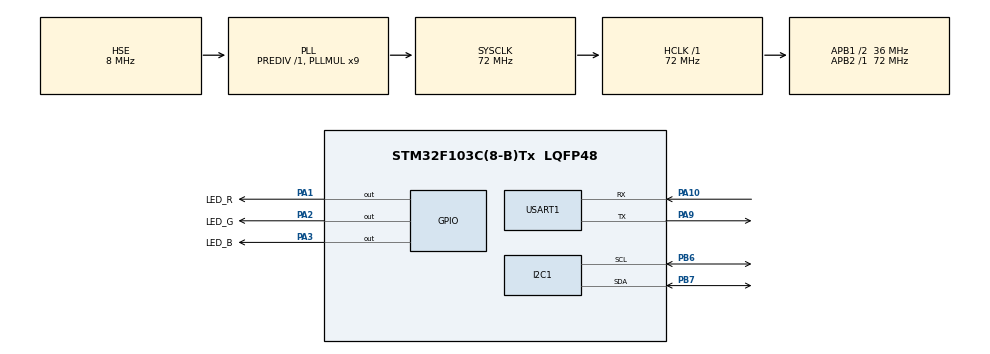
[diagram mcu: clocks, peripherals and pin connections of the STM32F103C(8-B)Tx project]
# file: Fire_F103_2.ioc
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FREERTOS.Tasks01=defaultTask,0,128,StartDefaultTask,Default,NULL,Dynamic,NULL,NULL;ledTask,0,256,StartLEDTask,Default,NULL,Dynamic,NULL,NULL;uartTask,-2,128,StartUartTask,Default,NULL,Dynamic,NULL,NULL;sensorTask,1,128,StartSensorTask,Default,NULL,Dynamic,NULL,NULL
Mcu.Family=STM32F1
Mcu.Name=STM32F103C(8-B)Tx
Mcu.Package=LQFP48
NVIC.PriorityGroup=NVIC_PRIORITYGROUP_4
PA1.GPIO_Label=LED_R
PA1.PinState=GPIO_PIN_SET
PA1.Signal=GPIO_Output
PA10.Mode=Asynchronous
PA10.Signal=USART1_RX
PA13.Mode=Serial_Wire
PA13.Signal=SYS_JTMS-SWDIO
PA14.Mode=Serial_Wire
PA14.Signal=SYS_JTCK-SWCLK
PA2.GPIO_Label=LED_G
PA2.PinState=GPIO_PIN_SET
PA2.Signal=GPIO_Output
PA3.GPIO_Label=LED_B
PA3.PinState=GPIO_PIN_SET
PA3.Signal=GPIO_Output
PA9.Mode=Asynchronous
PA9.Signal=USART1_TX
PB6.Mode=I2C
PB6.Signal=I2C1_SCL
PB7.Mode=I2C
PB7.Signal=I2C1_SDA
PC14-OSC32_IN.Mode=LSE-External-Oscillator
PC14-OSC32_IN.Signal=RCC_OSC32_IN
PC15-OSC32_OUT.Mode=LSE-External-Oscillator
PC15-OSC32_OUT.Signal=RCC_OSC32_OUT
PD0-OSC_IN.Mode=HSE-External-Oscillator
PD0-OSC_IN.Signal=RCC_OSC_IN
PD1-OSC_OUT.Mode=HSE-External-Oscillator
PD1-OSC_OUT.Signal=RCC_OSC_OUT
ProjectManager.HeapSize=0x200
ProjectManager.StackSize=0x400
ProjectManager.TargetToolchain=MDK-ARM V5.32
RCC.AHBFreq_Value=72000000
RCC.APB1CLKDivider=RCC_HCLK_DIV2
RCC.APB1Freq_Value=36000000
RCC.APB1TimFreq_Value=72000000
RCC.APB2Freq_Value=72000000
RCC.APB2TimFreq_Value=72000000
RCC.HCLKFreq_Value=72000000
RCC.PLLMUL=RCC_PLL_MUL9
RCC.PLLSourceVirtual=RCC_PLLSOURCE_HSE
RCC.SYSCLKFreq_VALUE=72000000
RCC.SYSCLKSource=RCC_SYSCLKSOURCE_PLLCLK
RCC.USBFreq_Value=72000000
USART1.VirtualMode=VM_ASYNC
VP_FREERTOS_VS_CMSIS_V1.Mode=CMSIS_V1
board=custom

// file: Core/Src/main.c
/* USER CODE BEGIN Header */
/**
  ******************************************************************************
  * @file           : main.c
  * @brief          : Main program body
  ******************************************************************************
  * @attention
  *
  * Copyright (c) 2026 STMicroelectronics.
  * All rights reserved.
  *
  * This software is licensed under terms that can be found in the LICENSE file
  * in the root directory of this software component.
  * If no LICENSE file comes with this software, it is provided AS-IS.
  *
  ******************************************************************************
  */
/* USER CODE END Header */
#include "main.h"
#include "cmsis_os.h"
#include "i2c.h"
#include "usart.h"
#include "gpio.h"

/* USER CODE BEGIN Includes */
#include <string.h>
#include <stdio.h>
#include "bsp_i2c_oled.h"
#include "bsp_fonts.h"
#include "bsp_dwt.h"
#include "bsp_dht11.h"

/* USER CODE END Includes */

/* USER CODE BEGIN PV */
volatile uint8_t g_oled_ready = 0U;

/* USER CODE END PV */

void SystemClock_Config(void);
void MX_FREERTOS_Init(void);
/* USER CODE BEGIN PFP */
static void Debug_SendText(const char *text);
static void Board_Blink(uint8_t times, uint32_t delay_ms);
static void Error_BlinkLoop(void);

/* USER CODE END PFP */

/* USER CODE BEGIN 0 */
static void Debug_SendText(const char *text)
{
  if (text == NULL)
  {
    return;
  }

  HAL_UART_Transmit(&huart1, (uint8_t *)text, (uint16_t)strlen(text), 100);
}

static void Board_Blink(uint8_t times, uint32_t delay_ms)
{
  for (uint8_t i = 0; i < times; i++)
  {
    HAL_GPIO_TogglePin(GPIOA, LED_R_Pin | LED_G_Pin | LED_B_Pin);
    HAL_GPIO_TogglePin(GPIOC, GPIO_PIN_13);
    HAL_Delay(delay_ms);
    HAL_GPIO_TogglePin(GPIOA, LED_R_Pin | LED_G_Pin | LED_B_Pin);
    HAL_GPIO_TogglePin(GPIOC, GPIO_PIN_13);
    HAL_Delay(delay_ms);
  }
}

static void Error_BlinkLoop(void)
{
  GPIO_InitTypeDef GPIO_InitStruct = {0};

  __HAL_RCC_GPIOA_CLK_ENABLE();
  __HAL_RCC_GPIOC_CLK_ENABLE();

  GPIO_InitStruct.Pin = LED_R_Pin | LED_G_Pin | LED_B_Pin;
  GPIO_InitStruct.Mode = GPIO_MODE_OUTPUT_PP;
  GPIO_InitStruct.Pull = GPIO_NOPULL;
  GPIO_InitStruct.Speed = GPIO_SPEED_FREQ_LOW;
  HAL_GPIO_Init(GPIOA, &GPIO_InitStruct);

  GPIO_InitStruct.Pin = GPIO_PIN_13;
  HAL_GPIO_Init(GPIOC, &GPIO_InitStruct);

  while (1)
  {
    HAL_GPIO_TogglePin(GPIOA, LED_R_Pin | LED_G_Pin | LED_B_Pin);
    HAL_GPIO_TogglePin(GPIOC, GPIO_PIN_13);
    for (volatile uint32_t delay = 0; delay < 250000U; delay++)
    {
      __NOP();
    }
  }
}

/* USER CODE END 0 */

int main(void)
{

  /* MCU Configuration--------------------------------------------------------*/

  /* Reset of all peripherals, Initializes the Flash interface and the Systick. */
  HAL_Init();

  MX_GPIO_Init();
  Board_Blink(2, 80);

  /* Configure the system clock */
  SystemClock_Config();

  /* Initialize all configured peripherals */
  MX_USART1_UART_Init();
  MX_I2C1_Init();
	DWT_Init();
	DHT11_GPIO_Config();
  /* USER CODE BEGIN 2 */
  Debug_SendText("BOOT\r\n");
  if (OLED_Init() == SUCCESS)
  {
    g_oled_ready = 1U;
    OLED_ShowString_F8X16(0,0, (uint8_t*)"STM32");
    OLED_ShowString_F8X16(1,0, (uint8_t*)"FreeRTOS");
    OLED_ShowString_F8X16(2,0, (uint8_t*)"LED OK");
    Debug_SendText("OLED READY\r\n");
  }
  else
  {
   Debug_SendText("OLED FAIL\r\n");
  }
  /* USER CODE END 2 */

  /* Call init function for freertos objects (in cmsis_os2.c) */
  Debug_SendText("RTOS INIT\r\n");
  MX_FREERTOS_Init();
  Debug_SendText("RTOS READY\r\n");

  /* Start scheduler */
  Debug_SendText("KERNEL START\r\n");
  osKernelStart();
  Debug_SendText("KERNEL RETURN\r\n");

  /* We should never get here as control is now taken by the scheduler */

  /* Infinite loop */
  while (1)
  {

    /* USER CODE BEGIN 3 */
    HAL_GPIO_TogglePin(GPIOA, LED_R_Pin);
    if (g_oled_ready == 0U)
    {
      g_oled_ready = (OLED_Init() == SUCCESS) ? 1U : 0U;
    }

    if (g_oled_ready != 0U)
    {
      OLED_CLS();
      OLED_ShowString_F8X16(0,0, (uint8_t*)"STM32");
      OLED_ShowString_F8X16(1,0, (uint8_t*)"FreeRTOS");
      OLED_ShowString_F8X16(2,0, (uint8_t*)"LED OK");
    }

    Debug_SendText("FALLBACK LOOP\r\n");
    HAL_Delay(1000);
  }
  /* USER CODE END 3 */
}

void SystemClock_Config(void)
{
  RCC_OscInitTypeDef RCC_OscInitStruct = {0};
  RCC_ClkInitTypeDef RCC_ClkInitStruct = {0};

  /** Initializes the RCC Oscillators according to the specified parameters
  * in the RCC_OscInitTypeDef structure.
  */
  RCC_OscInitStruct.OscillatorType = RCC_OSCILLATORTYPE_HSE;
  RCC_OscInitStruct.HSEState = RCC_HSE_ON;
  RCC_OscInitStruct.HSEPredivValue = RCC_HSE_PREDIV_DIV1;
  RCC_OscInitStruct.HSIState = RCC_HSI_ON;
  RCC_OscInitStruct.PLL.PLLState = RCC_PLL_ON;
  RCC_OscInitStruct.PLL.PLLSource = RCC_PLLSOURCE_HSE;
  RCC_OscInitStruct.PLL.PLLMUL = RCC_PLL_MUL9;
  if (HAL_RCC_OscConfig(&RCC_OscInitStruct) == HAL_OK)
  {
    /** Initializes the CPU, AHB and APB buses clocks
    */
    RCC_ClkInitStruct.ClockType = RCC_CLOCKTYPE_HCLK|RCC_CLOCKTYPE_SYSCLK
                                |RCC_CLOCKTYPE_PCLK1|RCC_CLOCKTYPE_PCLK2;
    RCC_ClkInitStruct.SYSCLKSource = RCC_SYSCLKSOURCE_PLLCLK;
    RCC_ClkInitStruct.AHBCLKDivider = RCC_SYSCLK_DIV1;
    RCC_ClkInitStruct.APB1CLKDivider = RCC_HCLK_DIV2;
    RCC_ClkInitStruct.APB2CLKDivider = RCC_HCLK_DIV1;

    if (HAL_RCC_ClockConfig(&RCC_ClkInitStruct, FLASH_LATENCY_2) == HAL_OK)
    {
      return;
    }
  }

  HAL_RCC_DeInit();

  RCC_OscInitStruct.OscillatorType = RCC_OSCILLATORTYPE_HSI;
  RCC_OscInitStruct.HSEState = RCC_HSE_OFF;
  RCC_OscInitStruct.HSEPredivValue = RCC_HSE_PREDIV_DIV1;
  RCC_OscInitStruct.HSIState = RCC_HSI_ON;
  RCC_OscInitStruct.HSICalibrationValue = RCC_HSICALIBRATION_DEFAULT;
  RCC_OscInitStruct.PLL.PLLState = RCC_PLL_ON;
  RCC_OscInitStruct.PLL.PLLSource = RCC_PLLSOURCE_HSI_DIV2;
  RCC_OscInitStruct.PLL.PLLMUL = RCC_PLL_MUL16;
  if (HAL_RCC_OscConfig(&RCC_OscInitStruct) != HAL_OK)
  {
    Error_Handler();
  }

  RCC_ClkInitStruct.ClockType = RCC_CLOCKTYPE_HCLK|RCC_CLOCKTYPE_SYSCLK
                              |RCC_CLOCKTYPE_PCLK1|RCC_CLOCKTYPE_PCLK2;
  RCC_ClkInitStruct.SYSCLKSource = RCC_SYSCLKSOURCE_PLLCLK;
  RCC_ClkInitStruct.AHBCLKDivider = RCC_SYSCLK_DIV1;
  RCC_ClkInitStruct.APB1CLKDivider = RCC_HCLK_DIV2;
  RCC_ClkInitStruct.APB2CLKDivider = RCC_HCLK_DIV1;
  if (HAL_RCC_ClockConfig(&RCC_ClkInitStruct, FLASH_LATENCY_2) != HAL_OK)
  {
    Error_Handler();
  }
}

/* USER CODE BEGIN 4 */
int fputc(int ch,FILE*f)
{
	(void)f;
	HAL_UART_Transmit(&huart1,(uint8_t *)&ch, 1 , HAL_MAX_DELAY);
	return ch;

}

/* USER CODE END 4 */

void Error_Handler(void)
{
  /* USER CODE BEGIN Error_Handler_Debug */
  /* User can add his own implementation to report the HAL error return state */
  if (huart1.Instance == USART1)
  {
    Debug_SendText("ERROR HANDLER\r\n");
  }
  __disable_irq();
  Error_BlinkLoop();
  /* USER CODE END Error_Handler_Debug */
}

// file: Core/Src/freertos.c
/* USER CODE BEGIN Header */
/**
  ******************************************************************************
  * File Name          : freertos.c
  * Description        : Code for freertos applications
  ******************************************************************************
  * @attention
  *
  * Copyright (c) 2026 STMicroelectronics.
  * All rights reserved.
  *
  * This software is licensed under terms that can be found in the LICENSE file
  * in the root directory of this software component.
  * If no LICENSE file comes with this software, it is provided AS-IS.
  *
  ******************************************************************************
  */
/* USER CODE END Header */

#include "FreeRTOS.h"
#include "task.h"
#include "main.h"
#include "cmsis_os.h"

/* USER CODE BEGIN Includes */
#include "gpio.h"
#include "usart.h"
#include "i2c.h"
#include "bsp_i2c_oled.h"
#include <string.h>
#include <stdio.h>
#include "bsp_dht11.h"

/* USER CODE END Includes */

/* USER CODE BEGIN PTD */
	typedef struct
	{
			uint8_t temp_int;
			uint8_t temp_dec;
			uint8_t humi_int;
			uint8_t humi_dec;
			uint8_t valid;
	} SensorData;
/* USER CODE END PTD */

/* USER CODE BEGIN Variables */
volatile uint32_t led_count=0;
volatile uint32_t uart_count=0;
volatile SensorData g_sensor_data = {0};
extern volatile uint8_t g_oled_ready;
static StaticTask_t probeTaskControlBlock;
static StackType_t probeTaskStack[128];
static StaticTask_t ledTaskControlBlock;
static StackType_t ledTaskStack[256];
static StaticTask_t uartTaskControlBlock;
static StackType_t uartTaskStack[256];
static StaticTask_t sensorTaskControlBlock;
static StackType_t sensorTaskStack[256];
/* USER CODE END Variables */
osThreadId defaultTaskHandle;
osThreadId probeTaskHandle;
osThreadId ledTaskHandle;
osThreadId uartTaskHandle;
osThreadId sensorTaskHandle;

/* USER CODE BEGIN FunctionPrototypes */
static void DebugTaskSend(const char *text);

/* USER CODE END FunctionPrototypes */

void StartDefaultTask(void const * argument);
void StartProbeTask(void const * argument);
void StartLEDTask(void const * argument);
void StartUartTask(void const * argument);
void StartSensorTask(void const * argument);

void MX_FREERTOS_Init(void); /* (MISRA C 2004 rule 8.1) */

/* GetIdleTaskMemory prototype (linked to static allocation support) */
void vApplicationGetIdleTaskMemory( StaticTask_t **ppxIdleTaskTCBBuffer, StackType_t **ppxIdleTaskStackBuffer, uint32_t *pulIdleTaskStackSize );

/* USER CODE BEGIN GET_IDLE_TASK_MEMORY */
static StaticTask_t xIdleTaskTCBBuffer;
static StackType_t xIdleStack[configMINIMAL_STACK_SIZE];

void vApplicationGetIdleTaskMemory( StaticTask_t **ppxIdleTaskTCBBuffer, StackType_t **ppxIdleTaskStackBuffer, uint32_t *pulIdleTaskStackSize )
{
  *ppxIdleTaskTCBBuffer = &xIdleTaskTCBBuffer;
  *ppxIdleTaskStackBuffer = &xIdleStack[0];
  *pulIdleTaskStackSize = configMINIMAL_STACK_SIZE;
  /* place for user code */
}

static void DebugTaskSend(const char *text)
{
  if (text == NULL)
  {
    return;
  }

  HAL_UART_Transmit(&huart1, (uint8_t *)text, (uint16_t)strlen(text), 100);
}
/* USER CODE END GET_IDLE_TASK_MEMORY */

void MX_FREERTOS_Init(void) {

  /* Create the thread(s) */
  /* definition and creation of defaultTask */
 // osThreadDef(defaultTask, StartDefaultTask, osPriorityNormal, 0, 128);
  //defaultTaskHandle = osThreadCreate(osThread(defaultTask), NULL);
	//	if (defaultTaskHandle == NULL)
//{
 //   Error_Handler();
//}
  /* definition and creation of probeTask */
  osThreadStaticDef(probeTask, StartProbeTask, osPriorityHigh, 0, 128, probeTaskStack, &probeTaskControlBlock);
  probeTaskHandle = osThreadCreate(osThread(probeTask), NULL);
  if (probeTaskHandle == NULL)
  {
    Error_Handler();
  }
  /* definition and creation of ledTask */
  osThreadStaticDef(ledTask, StartLEDTask, osPriorityNormal, 0, 256, ledTaskStack, &ledTaskControlBlock);
  ledTaskHandle = osThreadCreate(osThread(ledTask), NULL);
		if (ledTaskHandle == NULL)
	{
			Error_Handler();
	}
  /* definition and creation of uartTask */
  osThreadStaticDef(uartTask, StartUartTask, osPriorityNormal, 0, 256, uartTaskStack, &uartTaskControlBlock);
  uartTaskHandle = osThreadCreate(osThread(uartTask), NULL);
	if (uartTaskHandle == NULL)
{
    Error_Handler();
}
  /* definition and creation of sensorTask */
  osThreadStaticDef(sensorTask, StartSensorTask, osPriorityBelowNormal, 0, 256, sensorTaskStack, &sensorTaskControlBlock);
  sensorTaskHandle = osThreadCreate(osThread(sensorTask), NULL);
		if (sensorTaskHandle == NULL)
	{
			Error_Handler();
	}

}

void StartProbeTask(void const * argument)
{
  (void)argument;
  DebugTaskSend("PROBE TASK START\r\n");

  for (;;)
  {
    HAL_GPIO_TogglePin(GPIOA, LED_B_Pin);
    HAL_GPIO_TogglePin(GPIOC, GPIO_PIN_13);
    osDelay(500);
  }
}
void StartDefaultTask(void const * argument)
{
  for(;;)
  {
    osDelay(1);
  }
}

void StartLEDTask(void const * argument)
{
    char temp_buf[20];
    char humi_buf[20];
    SensorData sensor_snapshot;

  /* USER CODE BEGIN StartLEDTask */
  DebugTaskSend("DISPLAY TASK START\r\n");
  /* Infinite loop */
  for(;;)
    {
        taskENTER_CRITICAL();
        sensor_snapshot.temp_int = g_sensor_data.temp_int;
        sensor_snapshot.temp_dec = g_sensor_data.temp_dec;
        sensor_snapshot.humi_int = g_sensor_data.humi_int;
        sensor_snapshot.humi_dec = g_sensor_data.humi_dec;
        sensor_snapshot.valid = g_sensor_data.valid;
        taskEXIT_CRITICAL();

        HAL_GPIO_TogglePin(GPIOA, LED_R_Pin);
        HAL_GPIO_TogglePin(GPIOC, GPIO_PIN_13);

        if (g_oled_ready)
        {
            OLED_CLS();
            if (sensor_snapshot.valid)
            {
                sprintf(temp_buf, "TEMP:%d.%dC",
                        sensor_snapshot.temp_int,
                        sensor_snapshot.temp_dec);
                sprintf(humi_buf, "HUMI:%d.%d%%",
                        sensor_snapshot.humi_int,
                        sensor_snapshot.humi_dec);
                OLED_ShowString_F8X16(0, 0, (uint8_t *)"DHT11");
                OLED_ShowString_F8X16(1, 0, (uint8_t *)temp_buf);
                OLED_ShowString_F8X16(2, 0, (uint8_t *)humi_buf);
            }
            else
            {
                OLED_ShowString_F8X16(0, 0, (uint8_t *)"DHT11");
                OLED_ShowString_F8X16(1, 0, (uint8_t *)"READ ERROR");
            }
        }
        else
        {
            HAL_GPIO_TogglePin(GPIOA, LED_G_Pin);
        }
        osDelay(1000);
    }
  /* USER CODE END StartLEDTask */
}

void StartUartTask(void const * argument)
{
    char uart_buf[64];
    SensorData sensor_snapshot;

  /* USER CODE BEGIN StartUartTask */
  DebugTaskSend("UART TASK START\r\n");
  /* Infinite loop */

    for(;;)
    {
        taskENTER_CRITICAL();
        sensor_snapshot.temp_int = g_sensor_data.temp_int;
        sensor_snapshot.temp_dec = g_sensor_data.temp_dec;
        sensor_snapshot.humi_int = g_sensor_data.humi_int;
        sensor_snapshot.humi_dec = g_sensor_data.humi_dec;
        sensor_snapshot.valid = g_sensor_data.valid;
        taskEXIT_CRITICAL();

        if (sensor_snapshot.valid)
        {
            sprintf(uart_buf, "DHT11 TEMP:%d.%dC HUMI:%d.%d%%\r\n",
                    sensor_snapshot.temp_int,
                    sensor_snapshot.temp_dec,
                    sensor_snapshot.humi_int,
                    sensor_snapshot.humi_dec);
        }
        else
        {
            sprintf(uart_buf, "DHT11 READ ERROR\r\n");
        }

        DebugTaskSend(uart_buf);
        osDelay(2000);
    }

  /* USER CODE END StartUartTask */
}

void StartSensorTask(void const * argument)
{
    DHT11_DATA_TYPEDEF dht11_data;
  /* USER CODE BEGIN StartSensorTask */
  osDelay(500);
  DebugTaskSend("SENSOR TASK START\r\n");

  /* Infinite loop */
  for(;;)
  {
        if (DHT11_ReadData(&dht11_data) == HAL_OK)
        {
            taskENTER_CRITICAL();
            g_sensor_data.temp_int = dht11_data.temp_int;
            g_sensor_data.temp_dec = dht11_data.temp_deci;
            g_sensor_data.humi_int = dht11_data.humi_int;
            g_sensor_data.humi_dec = dht11_data.humi_deci;
            g_sensor_data.valid = 1;
            taskEXIT_CRITICAL();
        }
        else
        {
            taskENTER_CRITICAL();
            g_sensor_data.valid = 0;
            taskEXIT_CRITICAL();
        }

        osDelay(2000);
  }
  /* USER CODE END StartSensorTask */
}

/* USER CODE BEGIN Application */
void vApplicationMallocFailedHook(void)
{
  DebugTaskSend("RTOS malloc failed\r\n");
  vAssertCalled("malloc", 0);
}

void vApplicationStackOverflowHook(TaskHandle_t xTask, char *pcTaskName)
{
  (void)xTask;
  DebugTaskSend("RTOS stack overflow: ");
  DebugTaskSend(pcTaskName);
  DebugTaskSend("\r\n");
  vAssertCalled("stack", 0);
}

void vAssertCalled(const char *file, int line)
{
  char assert_buf[96];

  taskDISABLE_INTERRUPTS();
  sprintf(assert_buf, "ASSERT %s:%d\r\n", file, line);
  DebugTaskSend(assert_buf);

  while (1)
  {
    HAL_GPIO_TogglePin(GPIOA, LED_R_Pin | LED_G_Pin | LED_B_Pin);
    HAL_GPIO_TogglePin(GPIOC, GPIO_PIN_13);
    for (volatile uint32_t delay = 0; delay < 250000U; delay++)
    {
      __NOP();
    }
  }
}
/* USER CODE END Application */
